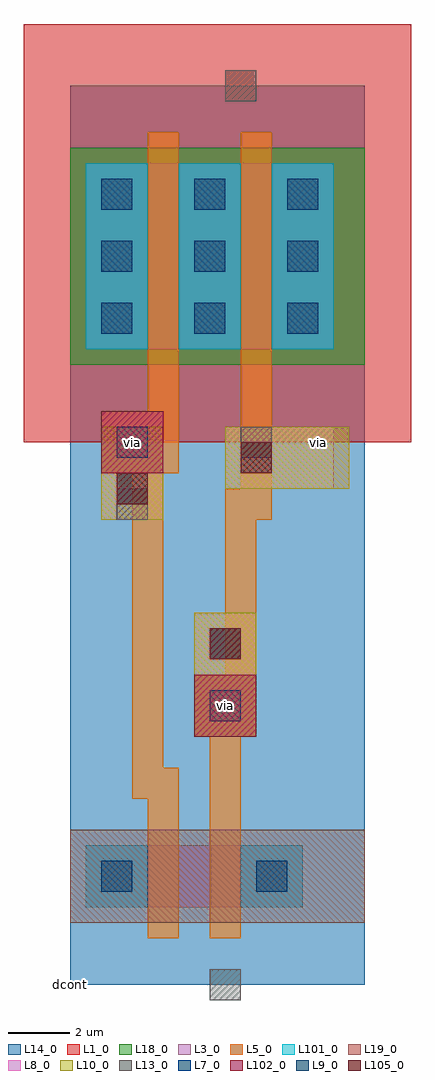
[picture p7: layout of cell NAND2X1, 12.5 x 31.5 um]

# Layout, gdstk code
import gdstk
lib = gdstk.Library(unit=1e-6, precision=1e-09)
def R(c, l, rs):  # rectangles x0, y0, x1, y1
    for r in rs: c.add(gdstk.rectangle(r[:2], r[2:], *l))
def A(c, l, x, y, w, h, nx, ny, dx, dy):  # array of equal rectangles
    R(c, l, [(x+i*dx, y+j*dy, x+i*dx+w, y+j*dy+h) for i in range(nx) for j in range(ny)])
def P(c, l, *ps):  # polygons
    for p in ps: c.add(gdstk.Polygon(p, *l))
L1_0 = (1, 0)
L3_0 = (3, 0)
L5_0 = (5, 0)
L7_0 = (7, 0)
L8_0 = (8, 0)
L9_0 = (9, 0)
L10_0 = (10, 0)
L13_0 = (13, 0)
L14_0 = (14, 0)
L18_0 = (18, 0)
L19_0 = (19, 0)
L101_0 = (101, 0)
L102_0 = (102, 0)
L105_0 = (105, 0)

nand2x1 = lib.new_cell('NAND2X1')
R(nand2x1, L1_0, [(-1.5,17.5,11,31)])
R(nand2x1, L3_0, [(0.5,2.5,7.5,4.5), (0.5,20.5,8.5,26.5)])
P(nand2x1, L5_0, [(2.5,1.5),(2.5,6),(2,6),(2,16.5),(1,16.5),(1,18.5),(2.5,18.5),(2.5,27.5),(3.5,27.5),(3.5,16.5),(3,16.5),(3,7),(3.5,7),(3.5,1.5)],
  [(4.5,1.5),(4.5,8),(4,8),(4,10),(5,10),(5,16),(5.5,16),(5.5,27.5),(6.5,27.5),(6.5,15),(6,15),(6,8),(5.5,8),(5.5,1.5)])
A(nand2x1, L7_0, 1, 21, 1, 1, 3, 3, 3, 2)
R(nand2x1, L7_0, [(1,3,2,4), (6,3,7,4), (4.5,8.5,5.5,9.5), (1.5,17,2.5,18)])
R(nand2x1, L8_0, [(4,8,6,12), (1,15,3,18.5), (5,16,8.5,18)])
R(nand2x1, L9_0, [(4.5,10.5,5.5,11.5), (1.5,15.5,2.5,16.5), (5.5,16.5,6.5,17.5)])
R(nand2x1, L10_0, [(4,8,6,12), (1,15,3,18), (5,16,9,18)])
A(nand2x1, L13_0, 1, 21, 1, 1, 3, 3, 3, 2)
R(nand2x1, L13_0, [(4.5,-0.5,5.5,0.5), (1,3,2,4), (6,3,7,4), (4.5,10.5,5.5,11.5), (1.5,15,2.5,16), (5.5,17,6.5,18), (5,28.5,6,29.5)])
R(nand2x1, L14_0, [(0,0,9.5,29)])
R(nand2x1, L18_0, [(0,20,9.5,27)])
R(nand2x1, L19_0, [(0,2,9.5,5)])
A(nand2x1, L101_0, 0.5, 20.5, 2, 6, 3, 1, 3, 0)
R(nand2x1, L101_0, [(0.5,2.5,2.5,4.5), (5.5,2.5,7.5,4.5)])
R(nand2x1, L102_0, [(4,8,6,10), (1,16.5,3,18.5)])
R(nand2x1, L105_0, [(4.5,10.5,5.5,11.5), (1.5,15.5,2.5,16.5), (5.5,16.5,6.5,17.5)])
nand2x1.add(gdstk.Label('via', (8,17.5), layer=13, texttype=0))
nand2x1.add(gdstk.Label('via', (2,17.5), layer=13, texttype=0))
nand2x1.add(gdstk.Label('via', (5,9), layer=13, texttype=0))
nand2x1.add(gdstk.Label('dcont', (0,0), layer=13, texttype=0))
nand2x1.add(gdstk.Label('dcont', (0,0), layer=13, texttype=0))
nand2x1.add(gdstk.Label('dcont', (0,0), layer=13, texttype=0))
nand2x1.add(gdstk.Label('dcont', (0,0), layer=13, texttype=0))
nand2x1.add(gdstk.Label('dcont', (0,0), layer=13, texttype=0))
nand2x1.add(gdstk.Label('dcont', (0,0), layer=13, texttype=0))
nand2x1.add(gdstk.Label('dcont', (0,0), layer=13, texttype=0))
nand2x1.add(gdstk.Label('dcont', (0,0), layer=13, texttype=0))
nand2x1.add(gdstk.Label('dcont', (0,0), layer=13, texttype=0))
nand2x1.add(gdstk.Label('dcont', (0,0), layer=13, texttype=0))
nand2x1.add(gdstk.Label('dcont', (0,0), layer=13, texttype=0))
nand2x1.add(gdstk.Label('PScon', (0,0), layer=13, texttype=0))
nand2x1.add(gdstk.Label('dcont', (0,0), layer=13, texttype=0))
nand2x1.add(gdstk.Label('via', (0,0), layer=13, texttype=0))
nand2x1.add(gdstk.Label('via', (0,0), layer=13, texttype=0))
nand2x1.add(gdstk.Label('via', (0,0), layer=13, texttype=0))
nand2x1.add(gdstk.Label('pcont', (0,0), layer=13, texttype=0))
nand2x1.add(gdstk.Label('pcont', (0,0), layer=13, texttype=0))
nand2x1.add(gdstk.Label('NScont', (0,0), layer=13, texttype=0))
nand2x1.add(gdstk.Label('dcont', (0,0), layer=13, texttype=0))

lib.write_gds('NAND2X1.gds')
